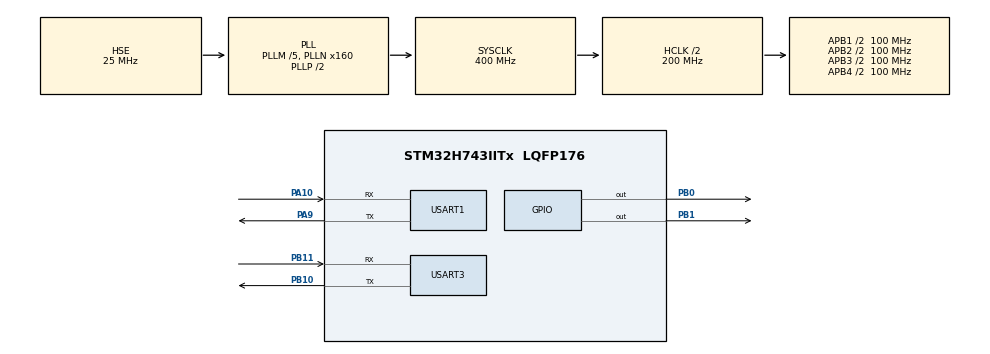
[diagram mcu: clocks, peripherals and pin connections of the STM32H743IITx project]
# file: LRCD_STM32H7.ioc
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Mcu.Family=STM32H7
Mcu.Name=STM32H743IITx
Mcu.Package=LQFP176
NVIC.PriorityGroup=NVIC_PRIORITYGROUP_4
NVIC.TIM6_DAC_IRQn=true\:3\:0\:true\:false\:true\:true\:true\:true
NVIC.USART1_IRQn=true\:1\:0\:true\:false\:true\:true\:true\:true
NVIC.USART3_IRQn=true\:0\:0\:false\:false\:true\:true\:true\:true
PA10.Mode=Asynchronous
PA10.Signal=USART1_RX
PA13\ (JTMS/SWDIO).Mode=Serial_Wire
PA13\ (JTMS/SWDIO).Signal=DEBUG_JTMS-SWDIO
PA14\ (JTCK/SWCLK).Mode=Serial_Wire
PA14\ (JTCK/SWCLK).Signal=DEBUG_JTCK-SWCLK
PA9.Mode=Asynchronous
PA9.Signal=USART1_TX
PB0.GPIO_ModeDefaultOutputPP=GPIO_MODE_OUTPUT_OD
PB0.GPIO_PuPd=GPIO_NOPULL
PB0.Signal=GPIO_Output
PB1.GPIO_ModeDefaultOutputPP=GPIO_MODE_OUTPUT_OD
PB1.GPIO_PuPd=GPIO_NOPULL
PB1.Signal=GPIO_Output
PB10.GPIO_PuPd=GPIO_PULLUP
PB10.GPIO_Speed=GPIO_SPEED_FREQ_HIGH
PB10.Mode=Asynchronous
PB10.Signal=USART3_TX
PB11.GPIO_PuPd=GPIO_PULLUP
PB11.GPIO_Speed=GPIO_SPEED_FREQ_HIGH
PB11.Mode=Asynchronous
PB11.Signal=USART3_RX
PH0-OSC_IN\ (PH0).Mode=HSE-External-Oscillator
PH0-OSC_IN\ (PH0).Signal=RCC_OSC_IN
PH1-OSC_OUT\ (PH1).Mode=HSE-External-Oscillator
PH1-OSC_OUT\ (PH1).Signal=RCC_OSC_OUT
ProjectManager.HeapSize=0x200
ProjectManager.StackSize=0x400
ProjectManager.TargetToolchain=MDK-ARM V5.32
RCC.ADCFreq_Value=50390625
RCC.APB1Freq_Value=100000000
RCC.APB2Freq_Value=100000000
RCC.APB3Freq_Value=100000000
RCC.APB4Freq_Value=100000000
RCC.CortexFreq_Value=400000000
RCC.D1PPRE=RCC_APB3_DIV2
RCC.D2PPRE1=RCC_APB1_DIV2
RCC.D2PPRE2=RCC_APB2_DIV2
RCC.D3PPRE=RCC_APB4_DIV2
RCC.DIVM1=5
RCC.DIVN1=160
RCC.DIVR1=5
RCC.HCLKFreq_Value=200000000
RCC.HPRE=RCC_HCLK_DIV2
RCC.PLLSourceVirtual=RCC_PLLSOURCE_HSE
RCC.SYSCLKFreq_VALUE=400000000
RCC.SYSCLKSource=RCC_SYSCLKSOURCE_PLLCLK
RCC.USBFreq_Value=400000000
TIM6.AutoReloadPreload=TIM_AUTORELOAD_PRELOAD_ENABLE
TIM6.Period=10
TIM6.Prescaler=19999
USART1.VirtualMode-Asynchronous=VM_ASYNC
USART3.VirtualMode-Asynchronous=VM_ASYNC
VP_TIM6_VS_ClockSourceINT.Mode=Enable_Timer
board=custom

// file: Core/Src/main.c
/* USER CODE BEGIN Header */
/**
  ******************************************************************************
  * @file           : main.c
  * @brief          : Main program body
  ******************************************************************************
  * @attention
  *
  * Copyright (c) 2023 STMicroelectronics.
  * All rights reserved.
  *
  * This software is licensed under terms that can be found in the LICENSE file
  * in the root directory of this software component.
  * If no LICENSE file comes with this software, it is provided AS-IS.
  *
  ******************************************************************************
  */
/* USER CODE END Header */
#include "main.h"

/* USER CODE BEGIN Includes */
#include "cooling_ModBus_Protocol.h"
#include <stdio.h>
#include "string.h"
#include "stdint.h"
#include "stdarg.h"
#include "test.h"

/* USER CODE END Includes */

TIM_HandleTypeDef htim6;

UART_HandleTypeDef huart1;
UART_HandleTypeDef huart3;

void SystemClock_Config(void);
static void MX_GPIO_Init(void);
static void MX_TIM6_Init(void);
static void MX_USART1_UART_Init(void);
static void MX_USART3_UART_Init(void);
/* USER CODE BEGIN PFP */
#if 1
// #pragma import(__use_no_semihosting)

struct __FILE
{
  int handle;
};

FILE __stdout;

void _sys_exit(int x)
{
  x = x;
}

int fputc(int ch, FILE *f)
{
  while ((USART1->ISR & 0X40) == 0)
    ;
  USART1->TDR = (uint8_t)ch;
  return ch;
}
#endif

void printfln(const char *format, ...)
{
    va_list args;
    va_start(args, format);
    vprintf(format, args);
    printf("\r\n");
    va_end(args);
}

// // UART接收数据函数
// void Receive_data(uint8_t *pData, uint16_t Size)
// {
//   HAL_UART_Receive_IT(&huart2, (uint8_t *)pData, Size);
// }

// 串口中断回调
void HAL_UART_RxCpltCallback(UART_HandleTypeDef *huart)
{
  if (huart->Instance == Cooling_Handle->huart->Instance)
  {
    Cooling_Handle->RxCplt();

  }

}

/* USER CODE END PFP */

int main(void)
{

  /* MCU Configuration--------------------------------------------------------*/

  /* Reset of all peripherals, Initializes the Flash interface and the Systick. */
  HAL_Init();

  /* Configure the system clock */
  SystemClock_Config();

  /* USER CODE BEGIN SysInit */
  SCB->CACR |= 1 << 2;  //强制透写
  /* USER CODE END SysInit */

  /* Initialize all configured peripherals */
  MX_GPIO_Init();
  MX_TIM6_Init();
  MX_USART1_UART_Init();
  MX_USART3_UART_Init();
  /* USER CODE BEGIN 2 */

  printfln("printfln:系统初始化完成");
  CoolingCreate(&huart3);
  printfln("CoolingCreate初始化完成");
  BATinit();

  /* USER CODE END 2 */

  /* Infinite loop */
  /* USER CODE BEGIN WHILE */
  HAL_TIM_Base_Start_IT(&htim6);
  HAL_Delay(1);
  printfln("htim6启动，开始液冷控制器周期调度");
  while (1)
  {
    /* USER CODE END WHILE */

  }
}

void SystemClock_Config(void)
{
  RCC_OscInitTypeDef RCC_OscInitStruct = {0};
  RCC_ClkInitTypeDef RCC_ClkInitStruct = {0};

  /** Supply configuration update enable
  */
  HAL_PWREx_ConfigSupply(PWR_LDO_SUPPLY);

  /** Configure the main internal regulator output voltage
  */
  __HAL_PWR_VOLTAGESCALING_CONFIG(PWR_REGULATOR_VOLTAGE_SCALE1);

  while(!__HAL_PWR_GET_FLAG(PWR_FLAG_VOSRDY)) {}

  /** Initializes the RCC Oscillators according to the specified parameters
  * in the RCC_OscInitTypeDef structure.
  */
  RCC_OscInitStruct.OscillatorType = RCC_OSCILLATORTYPE_HSE;
  RCC_OscInitStruct.HSEState = RCC_HSE_ON;
  RCC_OscInitStruct.PLL.PLLState = RCC_PLL_ON;
  RCC_OscInitStruct.PLL.PLLSource = RCC_PLLSOURCE_HSE;
  RCC_OscInitStruct.PLL.PLLM = 5;
  RCC_OscInitStruct.PLL.PLLN = 160;
  RCC_OscInitStruct.PLL.PLLP = 2;
  RCC_OscInitStruct.PLL.PLLQ = 2;
  RCC_OscInitStruct.PLL.PLLR = 5;
  RCC_OscInitStruct.PLL.PLLRGE = RCC_PLL1VCIRANGE_2;
  RCC_OscInitStruct.PLL.PLLVCOSEL = RCC_PLL1VCOWIDE;
  RCC_OscInitStruct.PLL.PLLFRACN = 0;
  if (HAL_RCC_OscConfig(&RCC_OscInitStruct) != HAL_OK)
  {
    Error_Handler();
  }

  /** Initializes the CPU, AHB and APB buses clocks
  */
  RCC_ClkInitStruct.ClockType = RCC_CLOCKTYPE_HCLK|RCC_CLOCKTYPE_SYSCLK
                              |RCC_CLOCKTYPE_PCLK1|RCC_CLOCKTYPE_PCLK2
                              |RCC_CLOCKTYPE_D3PCLK1|RCC_CLOCKTYPE_D1PCLK1;
  RCC_ClkInitStruct.SYSCLKSource = RCC_SYSCLKSOURCE_PLLCLK;
  RCC_ClkInitStruct.SYSCLKDivider = RCC_SYSCLK_DIV1;
  RCC_ClkInitStruct.AHBCLKDivider = RCC_HCLK_DIV2;
  RCC_ClkInitStruct.APB3CLKDivider = RCC_APB3_DIV2;
  RCC_ClkInitStruct.APB1CLKDivider = RCC_APB1_DIV2;
  RCC_ClkInitStruct.APB2CLKDivider = RCC_APB2_DIV2;
  RCC_ClkInitStruct.APB4CLKDivider = RCC_APB4_DIV2;

  if (HAL_RCC_ClockConfig(&RCC_ClkInitStruct, FLASH_LATENCY_2) != HAL_OK)
  {
    Error_Handler();
  }
}

static void MX_TIM6_Init(void)
{

  TIM_MasterConfigTypeDef sMasterConfig = {0};

  htim6.Instance = TIM6;
  htim6.Init.Prescaler = 19999;
  htim6.Init.CounterMode = TIM_COUNTERMODE_UP;
  htim6.Init.Period = 10;
  htim6.Init.AutoReloadPreload = TIM_AUTORELOAD_PRELOAD_ENABLE;
  if (HAL_TIM_Base_Init(&htim6) != HAL_OK)
  {
    Error_Handler();
  }
  sMasterConfig.MasterOutputTrigger = TIM_TRGO_RESET;
  sMasterConfig.MasterSlaveMode = TIM_MASTERSLAVEMODE_DISABLE;
  if (HAL_TIMEx_MasterConfigSynchronization(&htim6, &sMasterConfig) != HAL_OK)
  {
    Error_Handler();
  }

}

static void MX_USART1_UART_Init(void)
{

  huart1.Instance = USART1;
  huart1.Init.BaudRate = 115200;
  huart1.Init.WordLength = UART_WORDLENGTH_8B;
  huart1.Init.StopBits = UART_STOPBITS_1;
  huart1.Init.Parity = UART_PARITY_NONE;
  huart1.Init.Mode = UART_MODE_TX_RX;
  huart1.Init.HwFlowCtl = UART_HWCONTROL_NONE;
  huart1.Init.OverSampling = UART_OVERSAMPLING_16;
  huart1.Init.OneBitSampling = UART_ONE_BIT_SAMPLE_DISABLE;
  huart1.Init.ClockPrescaler = UART_PRESCALER_DIV1;
  huart1.AdvancedInit.AdvFeatureInit = UART_ADVFEATURE_NO_INIT;
  if (HAL_UART_Init(&huart1) != HAL_OK)
  {
    Error_Handler();
  }
  if (HAL_UARTEx_SetTxFifoThreshold(&huart1, UART_TXFIFO_THRESHOLD_1_8) != HAL_OK)
  {
    Error_Handler();
  }
  if (HAL_UARTEx_SetRxFifoThreshold(&huart1, UART_RXFIFO_THRESHOLD_1_8) != HAL_OK)
  {
    Error_Handler();
  }
  if (HAL_UARTEx_DisableFifoMode(&huart1) != HAL_OK)
  {
    Error_Handler();
  }

}

static void MX_USART3_UART_Init(void)
{

  huart3.Instance = USART3;
  huart3.Init.BaudRate = 115200;
  huart3.Init.WordLength = UART_WORDLENGTH_8B;
  huart3.Init.StopBits = UART_STOPBITS_1;
  huart3.Init.Parity = UART_PARITY_NONE;
  huart3.Init.Mode = UART_MODE_TX_RX;
  huart3.Init.HwFlowCtl = UART_HWCONTROL_NONE;
  huart3.Init.OverSampling = UART_OVERSAMPLING_16;
  huart3.Init.OneBitSampling = UART_ONE_BIT_SAMPLE_DISABLE;
  huart3.Init.ClockPrescaler = UART_PRESCALER_DIV1;
  huart3.AdvancedInit.AdvFeatureInit = UART_ADVFEATURE_NO_INIT;
  if (HAL_UART_Init(&huart3) != HAL_OK)
  {
    Error_Handler();
  }
  if (HAL_UARTEx_SetTxFifoThreshold(&huart3, UART_TXFIFO_THRESHOLD_1_8) != HAL_OK)
  {
    Error_Handler();
  }
  if (HAL_UARTEx_SetRxFifoThreshold(&huart3, UART_RXFIFO_THRESHOLD_1_8) != HAL_OK)
  {
    Error_Handler();
  }
  if (HAL_UARTEx_DisableFifoMode(&huart3) != HAL_OK)
  {
    Error_Handler();
  }

}

static void MX_GPIO_Init(void)
{
  GPIO_InitTypeDef GPIO_InitStruct = {0};

  /* GPIO Ports Clock Enable */
  __HAL_RCC_GPIOH_CLK_ENABLE();
  __HAL_RCC_GPIOB_CLK_ENABLE();
  __HAL_RCC_GPIOA_CLK_ENABLE();

  /*Configure GPIO pin Output Level */
  HAL_GPIO_WritePin(GPIOB, GPIO_PIN_0|GPIO_PIN_1, GPIO_PIN_RESET);

  /*Configure GPIO pins : PB0 PB1 */
  GPIO_InitStruct.Pin = GPIO_PIN_0|GPIO_PIN_1;
  GPIO_InitStruct.Mode = GPIO_MODE_OUTPUT_OD;
  GPIO_InitStruct.Pull = GPIO_NOPULL;
  GPIO_InitStruct.Speed = GPIO_SPEED_FREQ_LOW;
  HAL_GPIO_Init(GPIOB, &GPIO_InitStruct);

}

void Error_Handler(void)
{
  __disable_irq();
  while (1)
  {
  }
}
